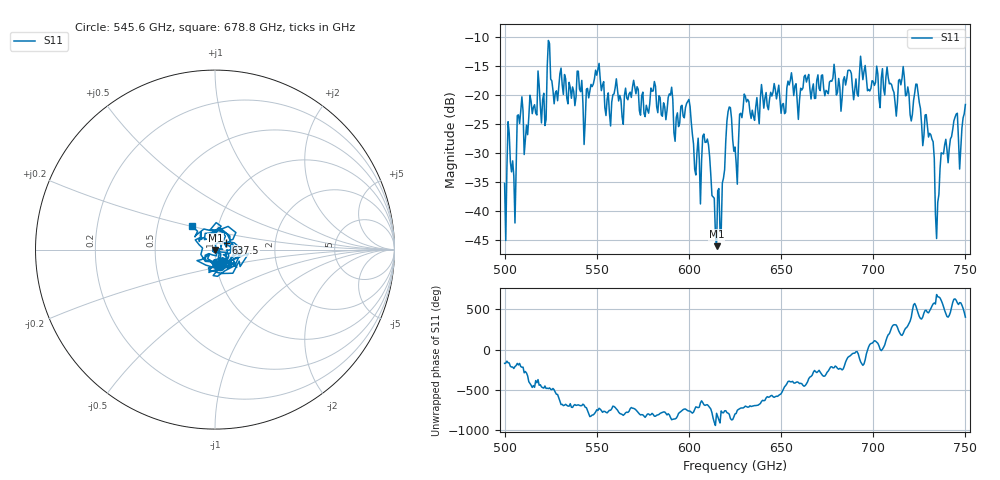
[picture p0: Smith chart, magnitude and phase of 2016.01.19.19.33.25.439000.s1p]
!Created with skrf (http://scikit-rf.org).
# GHz S RI R 50.0
!freq ReS11 ImS11
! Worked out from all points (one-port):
!   401 points, 500 GHz to 750 GHz, reference 50 ohm
!   lowest |S11| = -46.1 dB at 615 GHz (marker M1), VSWR 1.01, Z = 50.2 - j0.466 ohm
!   |S11| at or under -10 dB: start of sweep to end of sweep
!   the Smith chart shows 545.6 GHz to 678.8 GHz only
!   S11 on the Smith chart (normalised r, x): 545.6 GHz: 1.04, -0.19; 637.5 GHz: 1.13, +0.09; 678.8 GHz: 0.74, +0.20
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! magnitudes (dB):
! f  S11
! 500 GHz  -35.2
! 503.1 GHz  -31.5
! 505 GHz  -34.0
! 508.1 GHz  -24.9
! 511.9 GHz  -25.2
! 521.2 GHz  -19.6
! 524.4 GHz  -11.1
! 531.2 GHz  -18.2
! 545.6 GHz  -20.4
! 562.5 GHz  -20.0
! 593.8 GHz  -23.0
! 599.4 GHz  -21.0
! 605 GHz  -27.4
! 609.4 GHz  -28.1
! 615 GHz  -46.1
! 618.1 GHz  -35.2
! 621.9 GHz  -22.0
! 625 GHz  -28.9
! 630.6 GHz  -20.2
! 637.5 GHz  -22.9
! 656.2 GHz  -17.7
! 678.8 GHz  -14.6
! 687.5 GHz  -15.7
! 718.8 GHz  -18.6
! 731.2 GHz  -26.8
! 735 GHz  -38.5
! 738.1 GHz  -30.1
! 750 GHz  -21.6
